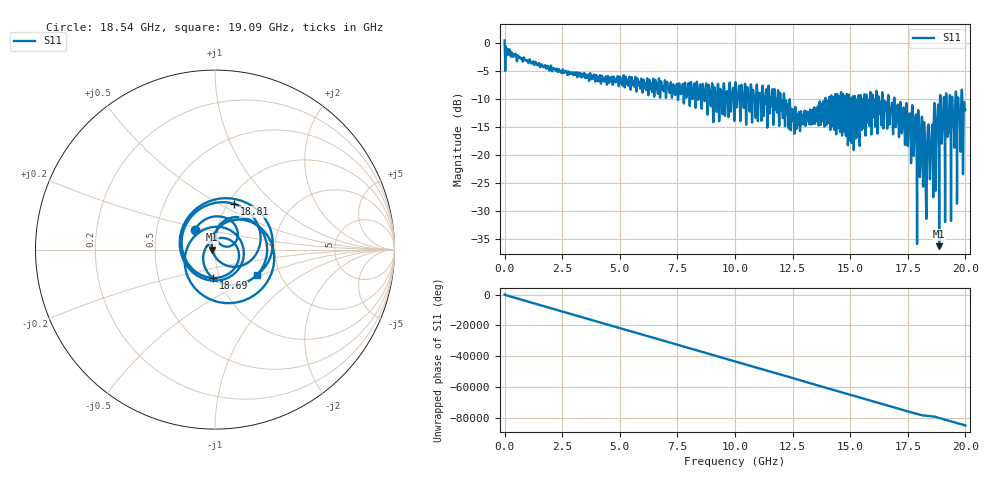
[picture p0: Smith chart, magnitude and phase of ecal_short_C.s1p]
! MS46122B
! 2250307/22442219
! 7/23/2025 1:04:03 PM
! C:\USERS\SPARKY\DOCUMENTS\VNA_DATA\JULY23_2025\295K\ECAL_SHORT_C.S1P
! CHANNEL.1
! TR.MEASUREMENT
! RAW.DATA
# GHZ S RI R 50.0
! FREQ.GHZ  S11RE  S11IM
!; PortSelection: Port_1
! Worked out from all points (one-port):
!   10001 points, 1 MHz to 20 GHz, reference 50 ohm
!   lowest |S11| = -36.2 dB at 18.86 GHz (marker M1), VSWR 1.03, Z = 48.5 - j0.0371 ohm
!   |S11| at or under -10 dB: 12.14 GHz to 13.92 GHz (1.779 GHz wide, 13.7 % of centre); 16.67 GHz to 16.9 GHz (234.5 MHz wide, 1.4 % of centre); 16.92 GHz to 18.9 GHz (1.976 GHz wide, 11 % of centre) (the widest 3 of 73)
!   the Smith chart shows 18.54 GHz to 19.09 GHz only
!   S11 on the Smith chart (normalised r, x): 18.54 GHz: 0.78, +0.18; 18.69 GHz: 0.93, -0.30; 18.81 GHz: 1.07, +0.59; 19.09 GHz: 1.53, -0.46
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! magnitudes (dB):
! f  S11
! 1 MHz  0.4
! 2.501 GHz  -5.0
! 5.001 GHz  -6.0
! 7.501 GHz  -8.4
! 10 GHz  -8.4
! 11.79 GHz  -10.0
! 12.5 GHz  -13.8
! 14.52 GHz  -9.5
! 15 GHz  -13.8
! 16.06 GHz  -10.3
! 17.5 GHz  -18.3
! 17.77 GHz  -17.4
! 17.83 GHz  -13.8
! 17.89 GHz  -25.3
! 17.98 GHz  -13.8
! 18.16 GHz  -25.6
! 18.24 GHz  -17.7
! 18.54 GHz  -16.0
! 18.59 GHz  -21.5
! 18.69 GHz  -15.9
! 18.81 GHz  -11.2
! 18.86 GHz  -36.2
! 19.09 GHz  -11.2
! 19.45 GHz  -12.5
! 19.51 GHz  -15.3
! 19.71 GHz  -12.2
! 19.76 GHz  -13.9
! 20 GHz  -11.9
